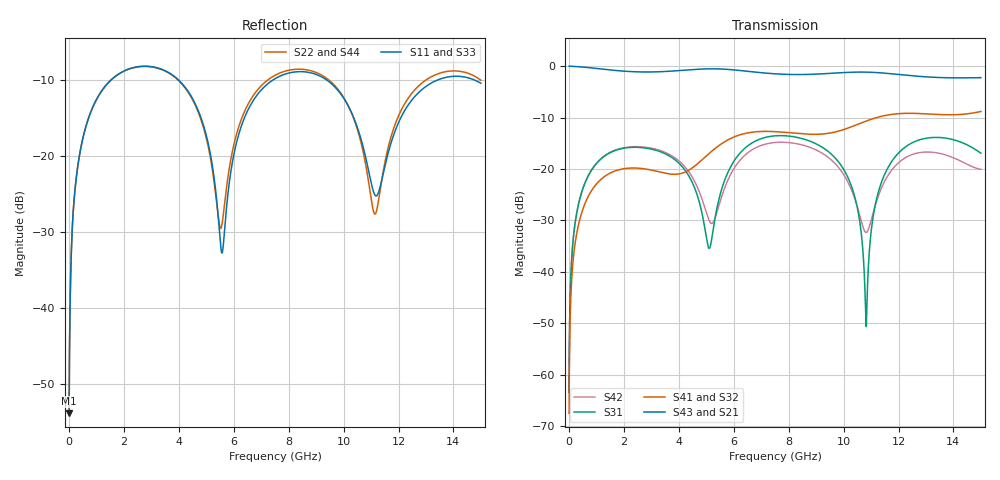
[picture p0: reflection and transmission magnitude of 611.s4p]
! Created with skrf 1.8.0 (http://scikit-rf.org).
# GHz S RI R 50.0
!freq ReS11 ImS11 ReS12 ImS12 ReS13 ImS13
! ReS14 ImS14
! ReS21 ImS21 ReS22 ImS22 ReS23 ImS23
! ReS24 ImS24
! ReS31 ImS31 ReS32 ImS32 ReS33 ImS33
! ReS34 ImS34
! ReS41 ImS41 ReS42 ImS42 ReS43 ImS43
! ReS44 ImS44
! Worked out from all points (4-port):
!   2499 points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, 5 MHz to 15 GHz, reference 50 ohm
!   strongest paths, dB at 5 MHz, 3.476 GHz, 7.19 GHz, 11.1 GHz, 15 GHz:
!     S43: 0.0, -1.1, -1.4, -1.2, -2.3
!     S21: 0.0, -1.1, -1.4, -1.2, -2.3
!     S41: -67.5, -20.8, -12.7, -10.2, -8.8
!     S32: -67.5, -20.8, -12.7, -10.2, -8.8
!     S31: -63.5, -17.0, -13.8, -28.6, -16.9
!     S42: -63.5, -16.7, -15.1, -28.1, -20.1
!   lowest |S11| = -53.9 dB at 5 MHz (marker M1), VSWR 1.00, Z = 50.2 + j0.123 ohm
!   |S11| at or under -10 dB: start of sweep to 1.525 GHz; 3.996 GHz to 7.421 GHz (3.425 GHz wide, 60 % of centre); 9.393 GHz to 13.41 GHz (4.018 GHz wide, 35.2 % of centre) (the widest 3 of 4)
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0.005  0.00161 0.00122  0.9984 -0.00314  8.19e-05 0.000667  -7.94e-05 -0.000414
       0.9984 -0.00314  0.00161 0.00122  -7.94e-05 -0.000414  8.19e-05 0.000667
       8.19e-05 0.000667  -7.94e-05 -0.000414  0.00161 0.00122  0.9984 -0.00314
       -7.94e-05 -0.000414  8.19e-05 0.000667  0.9984 -0.00314  0.00161 0.00122
0.3126303  0.0235 0.0805  0.968 -0.1956  0.011 0.0397  -0.00921 -0.0243
           0.968 -0.1956  0.0234 0.0806  -0.0092 -0.0243  0.0112 0.0396
           0.011 0.0397  -0.0092 -0.0243  0.0235 0.0805  0.968 -0.1956
           -0.00921 -0.0243  0.0112 0.0396  0.968 -0.1956  0.0234 0.0805
1.569404  0.2683 0.1773  0.5526 -0.7272  0.1308 0.0672  -0.0928 -0.00658
          0.5526 -0.7272  0.2673 0.1779  -0.0928 -0.00661  0.1341 0.0628
          0.1308 0.0672  -0.0928 -0.00661  0.2684 0.1774  0.5525 -0.7272
          -0.0928 -0.00658  0.1341 0.0628  0.5525 -0.7272  0.2673 0.178
5.414756  0.0247 -0.0361  -0.9281 -0.1453  0.0227 0.0388  -0.0218 0.1639
          -0.9281 -0.1453  0.0343 -0.0257  -0.0223 0.1638  -0.0273 0.0295
          0.0227 0.0388  -0.0223 0.1638  0.0252 -0.0384  -0.928 -0.1458
          -0.0218 0.1639  -0.0273 0.0295  -0.928 -0.1458  0.0346 -0.028
8.697374  0.3544 -0.0382  0.0257 0.829  0.1542 -0.1104  0.204 -0.0767
          0.0257 0.829  0.3633 -0.062  0.2038 -0.0752  0.1484 -0.0721
          0.1542 -0.1104  0.2038 -0.0752  0.3524 -0.0406  0.0275 0.8297
          0.204 -0.0767  0.1484 -0.0721  0.0275 0.8297  0.361 -0.0612
10.82326  0.0684 -0.0657  0.8182 0.3065  -0.00277 0.00099  0.0931 -0.2773
          0.8182 0.3065  0.0524 -0.066  0.0957 -0.2764  -0.024 0.00214
          -0.00277 0.00099  0.0957 -0.2764  0.0644 -0.0651  0.8197 0.3028
          0.0931 -0.2773  -0.024 0.00214  0.8197 0.3028  0.0544 -0.0632
15  0.2955 -0.0604  -0.2559 -0.7273  -0.028 -0.1394  -0.337 0.1324
    -0.2559 -0.7273  0.2967 -0.1081  -0.3386 0.1284  -0.0396 -0.091
    -0.028 -0.1394  -0.3386 0.1284  0.292 -0.0636  -0.2635 -0.7251
    -0.337 0.1324  -0.0396 -0.091  -0.2635 -0.7251  0.2943 -0.1087
